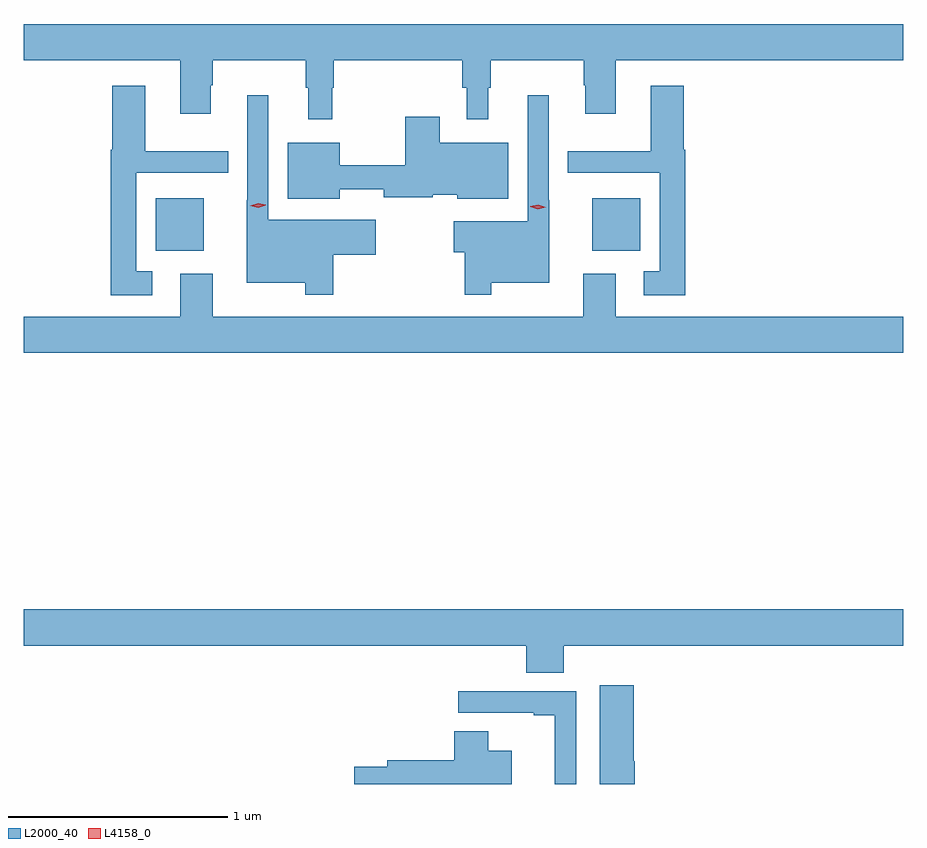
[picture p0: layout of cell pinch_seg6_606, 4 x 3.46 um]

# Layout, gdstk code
import gdstk
lib = gdstk.Library(unit=1e-6, precision=1e-09)
def R(c, l, rs):  # rectangles x0, y0, x1, y1
    for r in rs: c.add(gdstk.rectangle(r[:2], r[2:], *l))
def P(c, l, *ps):  # polygons
    for p in ps: c.add(gdstk.Polygon(p, *l))
L2000_40 = (2000, 40)
L4158_0 = (4158, 0)

pinch_seg6_606 = lib.new_cell('pinch_seg6_606')
R(pinch_seg6_606, L2000_40, [(456.14,970.445,456.358,970.684), (458.126,970.445,458.344,970.684)])
P(pinch_seg6_606, L2000_40, [(455.54,971.312),(456.251,971.312),(456.251,971.067),(456.391,971.067),(456.391,971.198),(456.399,971.198),(456.399,971.312),(456.822,971.312),(456.822,971.186),(456.833,971.186),(456.833,971.043),(456.943,971.043),(456.943,971.186),(456.95,971.186),(456.95,971.312),(457.534,971.312),(457.534,971.186),(457.554,971.186),(457.554,971.043),(457.652,971.043),(457.652,971.186),(457.663,971.186),(457.663,971.312),(458.086,971.312),(458.086,971.198),(458.093,971.198),(458.093,971.067),(458.233,971.067),(458.233,971.312),(459.54,971.312),(459.54,971.476),(455.54,971.476)],
  [(456.124,970.351),(456.051,970.351),(456.051,970.8),(456.47,970.8),(456.47,970.897),(456.091,970.897),(456.091,971.194),(455.942,971.194),(455.942,970.903),(455.935,970.903),(455.935,970.242),(456.124,970.242)],
  [(458.549,970.903),(458.543,970.903),(458.543,971.194),(458.393,971.194),(458.393,970.897),(458.014,970.897),(458.014,970.8),(458.433,970.8),(458.433,970.351),(458.361,970.351),(458.361,970.242),(458.549,970.242)],
  [(456.947,970.427),(457.141,970.427),(457.141,970.585),(456.651,970.585),(456.651,971.152),(456.555,971.152),(456.555,970.675),(456.554,970.675),(456.554,970.298),(456.819,970.298),(456.819,970.245),(456.947,970.245)],
  [(457.666,970.298),(457.931,970.298),(457.931,970.675),(457.929,970.675),(457.929,971.152),(457.833,971.152),(457.833,970.579),(457.496,970.579),(457.496,970.438),(457.545,970.438),(457.545,970.245),(457.666,970.245)],
  [(456.976,970.724),(457.178,970.724),(457.178,970.688),(457.4,970.688),(457.4,970.7),(457.512,970.7),(457.512,970.682),(457.744,970.682),(457.744,970.936),(457.432,970.936),(457.432,971.053),(457.274,971.053),(457.274,970.834),(456.976,970.834),(456.976,970.936),(456.74,970.936),(456.74,970.682),(456.976,970.682)],
  [(459.54,970.144),(458.233,970.144),(458.233,970.339),(458.084,970.339),(458.084,970.144),(456.4,970.144),(456.4,970.339),(456.251,970.339),(456.251,970.144),(455.54,970.144),(455.54,969.98),(459.54,969.98)],
  [(457.997,968.648),(459.54,968.648),(459.54,968.812),(455.54,968.812),(455.54,968.648),(457.826,968.648),(457.826,968.524),(457.997,968.524)],
  [(458.32,968.121),(458.315,968.121),(458.315,968.467),(458.159,968.467),(458.159,968.018),(458.32,968.018)],
  [(458.052,968.439),(457.742,968.439),(457.742,968.441),(457.515,968.441),(457.515,968.343),(457.859,968.343),(457.859,968.331),(457.955,968.331),(457.955,968.018),(458.052,968.018)],
  [(457.759,968.17),(457.653,968.17),(457.653,968.258),(457.499,968.258),(457.499,968.126),(457.193,968.126),(457.193,968.096),(457.044,968.096),(457.044,968.018),(457.759,968.018)])
P(pinch_seg6_606, L4158_0, [(457.878,970.634),(457.843,970.645),(457.843,970.646),(457.843,970.646),(457.879,970.654),(457.914,970.642),(457.914,970.642),(457.914,970.642)],
  [(456.606,970.641),(456.57,970.65),(456.57,970.65),(456.57,970.65),(456.605,970.661),(456.641,970.653),(456.641,970.653),(456.641,970.652)])

lib.write_gds('pinch_seg6_606.gds')
